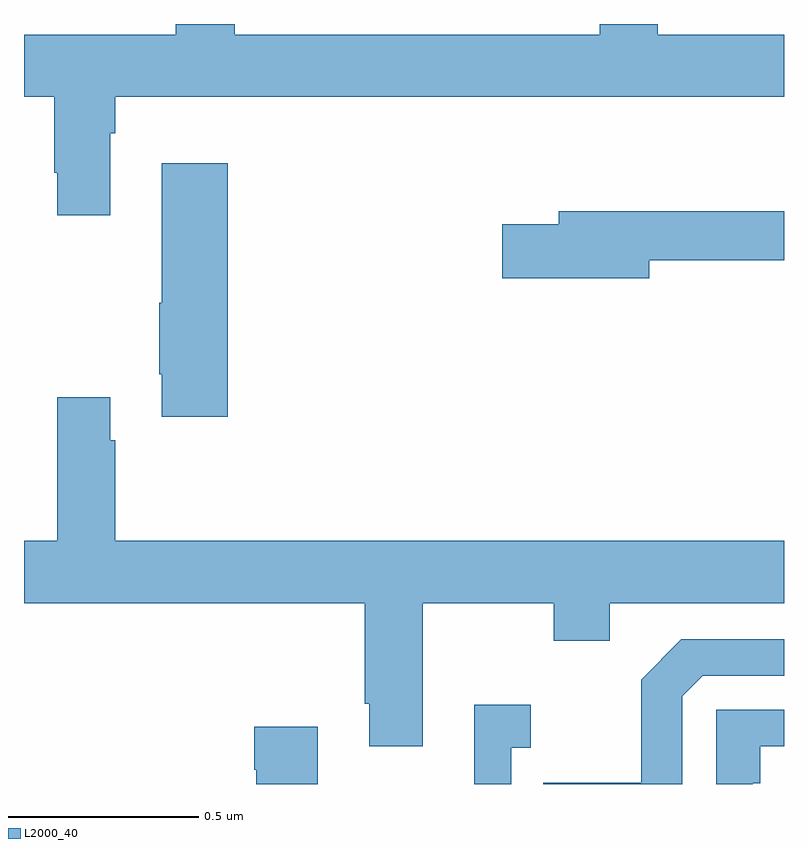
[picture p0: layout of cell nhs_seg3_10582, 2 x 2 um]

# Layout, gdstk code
import gdstk
lib = gdstk.Library(unit=1e-6, precision=1e-09)
def P(c, l, *ps):  # polygons
    for p in ps: c.add(gdstk.Polygon(p, *l))
L2000_40 = (2000, 40)

nhs_seg3_10582 = lib.new_cell('nhs_seg3_10582')
P(nhs_seg3_10582, L2000_40, [(242.227,742.112),(242.24,742.112),(242.24,742.208),(244,742.208),(244,742.372),(243.668,742.372),(243.668,742.4),(243.515,742.4),(243.515,742.372),(242.555,742.372),(242.555,742.4),(242.399,742.4),(242.399,742.372),(242,742.372),(242,742.208),(242.08,742.208),(242.08,742.009),(242.087,742.009),(242.087,741.897),(242.227,741.897)],
  [(242.536,742.033),(242.363,742.033),(242.363,741.667),(242.356,741.667),(242.356,741.478),(242.363,741.478),(242.363,741.366),(242.536,741.366)],
  [(243.646,741.778),(244,741.778),(244,741.907),(243.407,741.907),(243.407,741.873),(243.258,741.873),(243.258,741.731),(243.646,741.731)],
  [(243.049,740.876),(243.394,740.876),(243.394,740.777),(243.541,740.777),(243.541,740.876),(244,740.876),(244,741.04),(242.24,741.04),(242.24,741.305),(242.227,741.305),(242.227,741.418),(242.087,741.418),(242.087,741.04),(242,741.04),(242,740.876),(242.897,740.876),(242.897,740.611),(242.909,740.611),(242.909,740.499),(243.049,740.499)],
  [(243.732,740.631),(243.786,740.685),(244,740.685),(244,740.781),(243.729,740.781),(243.624,740.675),(243.624,740.403),(243.367,740.403),(243.367,740.4),(243.732,740.4)],
  [(243.282,740.495),(243.334,740.495),(243.334,740.608),(243.185,740.608),(243.185,740.4),(243.282,740.4)],
  [(243.918,740.402),(243.938,740.402),(243.938,740.499),(244,740.499),(244,740.595),(243.822,740.595),(243.822,740.4),(243.918,740.4)],
  [(242.773,740.551),(242.606,740.551),(242.606,740.438),(242.611,740.438),(242.611,740.4),(242.773,740.4)])

lib.write_gds('nhs_seg3_10582.gds')
